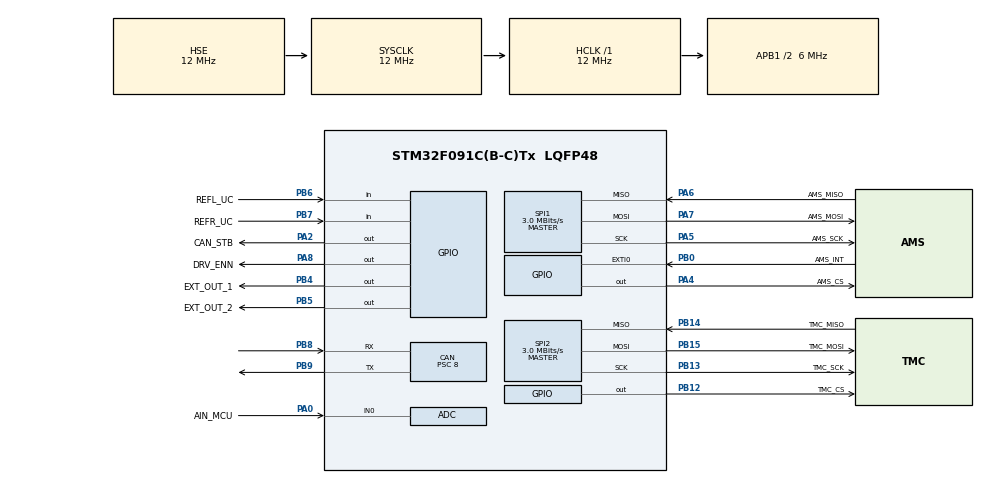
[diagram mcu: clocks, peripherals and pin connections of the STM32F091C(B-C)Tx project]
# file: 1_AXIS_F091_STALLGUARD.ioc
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CAN.BS1=CAN_BS1_2TQ
CAN.CalculateBaudRate=187500
CAN.CalculateTimeBit=5333
CAN.CalculateTimeQuantum=1333.3333333333333
CAN.Mode=CAN_MODE_NORMAL
CAN.Prescaler=8
Mcu.Family=STM32F0
Mcu.Name=STM32F091C(B-C)Tx
Mcu.Package=LQFP48
NVIC.CEC_CAN_IRQn=true\:0\:0\:false\:false\:true\:true\:true\:true
NVIC.EXTI0_1_IRQn=true\:0\:0\:false\:false\:true\:true\:true\:true
PA0.GPIO_Label=AIN_MCU
PA0.Mode=IN0
PA0.Signal=ADC_IN0
PA13.GPIO_Label=SWDIO
PA13.Mode=Serial_Wire
PA13.Signal=SYS_SWDIO
PA14.GPIO_Label=SWCLK
PA14.Mode=Serial_Wire
PA14.Signal=SYS_SWCLK
PA2.GPIO_Label=CAN_STB
PA2.Signal=GPIO_Output
PA4.GPIO_Label=AMS_CS
PA4.Signal=GPIO_Output
PA5.GPIO_Label=AMS_SCK
PA5.Mode=Full_Duplex_Master
PA5.Signal=SPI1_SCK
PA6.GPIO_Label=AMS_MISO
PA6.Mode=Full_Duplex_Master
PA6.Signal=SPI1_MISO
PA7.GPIO_Label=AMS_MOSI
PA7.Mode=Full_Duplex_Master
PA7.Signal=SPI1_MOSI
PA8.GPIO_Label=DRV_ENN
PA8.Signal=GPIO_Output
PB0.GPIO_Label=AMS_INT
PB0.GPIO_ModeDefaultEXTI=GPIO_MODE_IT_RISING
PB0.Signal=GPXTI0
PB12.GPIO_Label=TMC_CS
PB12.PinState=GPIO_PIN_SET
PB12.Signal=GPIO_Output
PB13.GPIO_Label=TMC_SCK
PB13.Mode=Full_Duplex_Master
PB13.Signal=SPI2_SCK
PB14.GPIO_Label=TMC_MISO
PB14.Mode=Full_Duplex_Master
PB14.Signal=SPI2_MISO
PB15.GPIO_Label=TMC_MOSI
PB15.Mode=Full_Duplex_Master
PB15.Signal=SPI2_MOSI
PB4.GPIO_Label=EXT_OUT_1
PB4.GPIO_PuPd=GPIO_PULLDOWN
PB4.Signal=GPIO_Output
PB5.GPIO_Label=EXT_OUT_2
PB5.GPIO_PuPd=GPIO_PULLDOWN
PB5.Signal=GPIO_Output
PB6.GPIO_Label=REFL_UC
PB6.GPIO_PuPd=GPIO_PULLDOWN
PB6.Signal=GPIO_Input
PB7.GPIO_Label=REFR_UC
PB7.GPIO_PuPd=GPIO_PULLDOWN
PB7.Signal=GPIO_Input
PB8.Mode=CAN_Activate
PB8.Signal=CAN_RX
PB9.Mode=CAN_Activate
PB9.Signal=CAN_TX
PF0-OSC_IN.Mode=HSE-External-Oscillator
PF0-OSC_IN.Signal=RCC_OSC_IN
PF1-OSC_OUT.Mode=HSE-External-Oscillator
PF1-OSC_OUT.Signal=RCC_OSC_OUT
ProjectManager.HeapSize=0x200
ProjectManager.StackSize=0x400
ProjectManager.TargetToolchain=STM32CubeIDE
RCC.AHBFreq_Value=12000000
RCC.APB1CLKDivider=RCC_HCLK_DIV2
RCC.APB1Freq_Value=6000000
RCC.APB1TimFreq_Value=12000000
RCC.HCLKFreq_Value=12000000
RCC.HSE_VALUE=12000000
RCC.PLLSourceVirtual=RCC_PLLSOURCE_HSE
RCC.SYSCLKFreq_VALUE=12000000
RCC.SYSCLKSource=RCC_SYSCLKSOURCE_HSE
SPI1.BaudRatePrescaler=SPI_BAUDRATEPRESCALER_2
SPI1.CLKPhase=SPI_PHASE_2EDGE
SPI1.CalculateBaudRate=3.0 MBits/s
SPI1.DataSize=SPI_DATASIZE_8BIT
SPI1.Direction=SPI_DIRECTION_2LINES
SPI1.Mode=SPI_MODE_MASTER
SPI1.VirtualType=VM_MASTER
SPI2.CalculateBaudRate=3.0 MBits/s
SPI2.DataSize=SPI_DATASIZE_8BIT
SPI2.Direction=SPI_DIRECTION_2LINES
SPI2.Mode=SPI_MODE_MASTER
SPI2.VirtualType=VM_MASTER
board=custom

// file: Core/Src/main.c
/* USER CODE BEGIN Header */
/**
  ******************************************************************************
  * @file           : main.c
  * @brief          : Main program body
  ******************************************************************************
  * @attention
  *
  * Copyright (c) 2022 STMicroelectronics.
  * All rights reserved.
  *
  * This software is licensed under terms that can be found in the LICENSE file
  * in the root directory of this software component.
  * If no LICENSE file comes with this software, it is provided AS-IS.
  *
  ******************************************************************************
  */
/* USER CODE END Header */
#include "main.h"

ADC_HandleTypeDef hadc;

CAN_HandleTypeDef hcan;

SPI_HandleTypeDef hspi1;
SPI_HandleTypeDef hspi2;

void SystemClock_Config(void);
static void MX_GPIO_Init(void);
static void MX_ADC_Init(void);
static void MX_CAN_Init(void);
static void MX_SPI1_Init(void);
static void MX_SPI2_Init(void);

/* USER CODE BEGIN 0 */

/* CAN VARIABLES */
CAN_TxHeaderTypeDef CANTxHeader;
CAN_RxHeaderTypeDef CANRxHeader;

/* RAMP config */
RampConfig Ramp1;
RampConfig StallSettings1;
RampConfig StealthSettings1;

/* Current config */
CurrentConfig CurrentSetting1;

/* User Settings */
int AMS_ENB = 0; // 0 = disable Hall sensor , 1 = enable Hall sensor
int ENC_ENB = 0; // 0 = disable Encoder , 1 = enable Encoder
int ENC_HOME = 0; // 0 = don't reset ENC counter at Z-event, 1 = reset at Z-event (for homing)
int STG_ENB = 1; // 0 = disable Stallguard, 1 = enable Stallguard
int32_t AMS_Resolution =  4096; // Hall sensor resolution
int32_t ENC_Resolution =  8000; // Encoder resolution

/* CAN VARIABLES */  //
CAN_TxHeaderTypeDef CANTxHeader;
CAN_RxHeaderTypeDef CANRxHeader;

uint8_t CANTxData[8];	//CANTX data array
uint8_t CANRxData[8];	//CANRX data array
uint32_t TxMailbox[3];	//CAN Mailbox
int Datacheck;			//temp value for checking incomming CAN Data

uint32_t currentposition = 0;
uint32_t Home = 0;

/*  CAN RECEIVE INTERRUPT */
void HAL_CAN_RxFifo0MsgPendingCallback(CAN_HandleTypeDef *hcan)
{
	HAL_CAN_GetRxMessage(hcan, CAN_RX_FIFO0, &CANRxHeader, CANRxData);

	if (CANRxData[0] == 0x01)
	{
		Datacheck = 1;
	}
}

/* AMS INTERRUPT */
void HAL_GPIO_EXTI_Callback(uint16_t GPIO_Pin)
{
	if(GPIO_Pin == AMS_INT_Pin && AMS_Ready == 0)
	{
		AMS_Ready = 1;
	}
}
/* USER CODE END 0 */

int main(void)
{

  /* MCU Configuration--------------------------------------------------------*/

  /* Reset of all peripherals, Initializes the Flash interface and the Systick. */
  HAL_Init();

  /* Configure the system clock */
  SystemClock_Config();

  /* Initialize all configured peripherals */
  MX_GPIO_Init();
  MX_ADC_Init();
  MX_CAN_Init();
  MX_SPI1_Init();
  MX_SPI2_Init();
  /* USER CODE BEGIN 2 */

  HAL_Delay(25); //wait for caps to charge

  StallSettings1.VSTART = 10;
  StallSettings1.AMAX 	= 51200;
  StallSettings1.VMAX 	= 51200; // 2 RPS 102400
  StallSettings1.VSTOP 	= 10;

  Ramp1.VSTART 	= 10;		//Motor Start speed
  Ramp1.A1 		= 1000;		//Motor Accelaration from Vstart to speed V1
  Ramp1.V1 		= 10000;	//Motor Speed limit V1
  Ramp1.AMAX 	= 51200;	//Motor Accelaration from speed V1 to speed Vmax
  Ramp1.VMAX 	= 51200;	//Motor Max speed limit
  Ramp1.DMAX 	= 700;		//Motor Decelaration speed from speed VMAX to V1
  Ramp1.D1 		= 1400; 	//Motor Decelaration speed from V1 to VStop
  Ramp1.VSTOP 	= 10;		//Motor Stop speed

  CurrentSetting1.IHOLD = 3;
  CurrentSetting1.IRUN 	= 1;

  TMC5160_Basic_Init(&CurrentSetting1);
  TMC5160_Drive_Enable(1);

  int stall = 0;

  ///////////////////SENSORLESS HOMING WITH STALLGUARD///////////////////////////////////
  //rotate untill stall and set stalled position as HOME
  TMC5160_Basic_Rotate(1, &StallSettings1);
  TMC5160_Init_Stallguard(0,1);//enable stallguard

  while (stall == 0) //wait for stepper to stall
  {
  	if(TMC5160_Monitor_Stallguard() == 1) //stall checker function
  	{
  		TMC5160_Drive_Enable(0);
  		TMC5160_Init_Stallguard(1,0); // clear stall flag
  		stall = 1;
  	}
  }

  TMC5160_Set_Home(); //set current position as home "0"
////////////////////////////////////////////////////////////////////////////////////

  // start moving from Home position.
  TMC5160_Basic_Rotate(1, &StallSettings1); //start basic movement
  TMC5160_Init_Stallguard(0,1); //enable stallguard

  /* USER CODE END 2 */

  /* Infinite loop */
  while (1)
  {

    /* USER CODE BEGIN 3 */
		if (TMC5160_Monitor_Stallguard() == 1)
		{
			// stall event
			TMC5160_Drive_Enable(0);
			TMC5160_Init_Stallguard(1, 0); // clear stall flag
			HAL_Delay(1000); //start rotation after 1 sec
			TMC5160_Drive_Enable(1);
			TMC5160_Basic_Rotate(1, &StallSettings1); // continue movement after stall (if needed)
		}
  }
  /* USER CODE END 3 */
}

void SystemClock_Config(void)
{
  RCC_OscInitTypeDef RCC_OscInitStruct = {0};
  RCC_ClkInitTypeDef RCC_ClkInitStruct = {0};

  /** Initializes the RCC Oscillators according to the specified parameters
  * in the RCC_OscInitTypeDef structure.
  */
  RCC_OscInitStruct.OscillatorType = RCC_OSCILLATORTYPE_HSI14|RCC_OSCILLATORTYPE_HSE;
  RCC_OscInitStruct.HSEState = RCC_HSE_ON;
  RCC_OscInitStruct.HSI14State = RCC_HSI14_ON;
  RCC_OscInitStruct.HSI14CalibrationValue = 16;
  RCC_OscInitStruct.PLL.PLLState = RCC_PLL_NONE;
  if (HAL_RCC_OscConfig(&RCC_OscInitStruct) != HAL_OK)
  {
    Error_Handler();
  }

  /** Initializes the CPU, AHB and APB buses clocks
  */
  RCC_ClkInitStruct.ClockType = RCC_CLOCKTYPE_HCLK|RCC_CLOCKTYPE_SYSCLK
                              |RCC_CLOCKTYPE_PCLK1;
  RCC_ClkInitStruct.SYSCLKSource = RCC_SYSCLKSOURCE_HSE;
  RCC_ClkInitStruct.AHBCLKDivider = RCC_SYSCLK_DIV1;
  RCC_ClkInitStruct.APB1CLKDivider = RCC_HCLK_DIV2;

  if (HAL_RCC_ClockConfig(&RCC_ClkInitStruct, FLASH_LATENCY_0) != HAL_OK)
  {
    Error_Handler();
  }
}

static void MX_ADC_Init(void)
{

  ADC_ChannelConfTypeDef sConfig = {0};

  /** Configure the global features of the ADC (Clock, Resolution, Data Alignment and number of conversion)
  */
  hadc.Instance = ADC1;
  hadc.Init.ClockPrescaler = ADC_CLOCK_ASYNC_DIV1;
  hadc.Init.Resolution = ADC_RESOLUTION_12B;
  hadc.Init.DataAlign = ADC_DATAALIGN_RIGHT;
  hadc.Init.ScanConvMode = ADC_SCAN_DIRECTION_FORWARD;
  hadc.Init.EOCSelection = ADC_EOC_SINGLE_CONV;
  hadc.Init.LowPowerAutoWait = DISABLE;
  hadc.Init.LowPowerAutoPowerOff = DISABLE;
  hadc.Init.ContinuousConvMode = DISABLE;
  hadc.Init.DiscontinuousConvMode = DISABLE;
  hadc.Init.ExternalTrigConv = ADC_SOFTWARE_START;
  hadc.Init.ExternalTrigConvEdge = ADC_EXTERNALTRIGCONVEDGE_NONE;
  hadc.Init.DMAContinuousRequests = DISABLE;
  hadc.Init.Overrun = ADC_OVR_DATA_PRESERVED;
  if (HAL_ADC_Init(&hadc) != HAL_OK)
  {
    Error_Handler();
  }

  /** Configure for the selected ADC regular channel to be converted.
  */
  sConfig.Channel = ADC_CHANNEL_0;
  sConfig.Rank = ADC_RANK_CHANNEL_NUMBER;
  sConfig.SamplingTime = ADC_SAMPLETIME_1CYCLE_5;
  if (HAL_ADC_ConfigChannel(&hadc, &sConfig) != HAL_OK)
  {
    Error_Handler();
  }

}

static void MX_CAN_Init(void)
{

  /* USER CODE BEGIN CAN_Init 0 */
  HAL_GPIO_WritePin(GPIOA,CAN_STB_Pin,0); // Set STB pin LOW for normal operation
  /* USER CODE END CAN_Init 0 */

  hcan.Instance = CAN;
  hcan.Init.Prescaler = 8;
  hcan.Init.Mode = CAN_MODE_NORMAL;
  hcan.Init.SyncJumpWidth = CAN_SJW_1TQ;
  hcan.Init.TimeSeg1 = CAN_BS1_2TQ;
  hcan.Init.TimeSeg2 = CAN_BS2_1TQ;
  hcan.Init.TimeTriggeredMode = DISABLE;
  hcan.Init.AutoBusOff = DISABLE;
  hcan.Init.AutoWakeUp = DISABLE;
  hcan.Init.AutoRetransmission = DISABLE;
  hcan.Init.ReceiveFifoLocked = DISABLE;
  hcan.Init.TransmitFifoPriority = DISABLE;
  if (HAL_CAN_Init(&hcan) != HAL_OK)
  {
    Error_Handler();
  }
  /* USER CODE BEGIN CAN_Init 2 */

  /* CAN filter */

  CAN_FilterTypeDef  sFilterConfig;

  sFilterConfig.FilterActivation = ENABLE;
  sFilterConfig.FilterBank = 10;
  sFilterConfig.FilterFIFOAssignment = CAN_RX_FIFO0;
  sFilterConfig.FilterIdHigh = 0x0000;
  sFilterConfig.FilterIdLow = 0x0000;
  sFilterConfig.FilterMaskIdHigh = 0x0000;
  sFilterConfig.FilterMaskIdLow = 0x0000;
  sFilterConfig.FilterMode = CAN_FILTERMODE_IDMASK;
  sFilterConfig.FilterScale = CAN_FILTERSCALE_32BIT;
  sFilterConfig.SlaveStartFilterBank = 0;

  HAL_CAN_ConfigFilter(&hcan, &sFilterConfig);

  HAL_CAN_Start(&hcan);
  HAL_CAN_ActivateNotification(&hcan, CAN_IT_RX_FIFO0_MSG_PENDING);

  /* USER CODE END CAN_Init 2 */

}

static void MX_SPI1_Init(void)
{

  /* SPI1 parameter configuration*/
  hspi1.Instance = SPI1;
  hspi1.Init.Mode = SPI_MODE_MASTER;
  hspi1.Init.Direction = SPI_DIRECTION_2LINES;
  hspi1.Init.DataSize = SPI_DATASIZE_8BIT;
  hspi1.Init.CLKPolarity = SPI_POLARITY_LOW;
  hspi1.Init.CLKPhase = SPI_PHASE_2EDGE;
  hspi1.Init.NSS = SPI_NSS_SOFT;
  hspi1.Init.BaudRatePrescaler = SPI_BAUDRATEPRESCALER_2;
  hspi1.Init.FirstBit = SPI_FIRSTBIT_MSB;
  hspi1.Init.TIMode = SPI_TIMODE_DISABLE;
  hspi1.Init.CRCCalculation = SPI_CRCCALCULATION_DISABLE;
  hspi1.Init.CRCPolynomial = 7;
  hspi1.Init.CRCLength = SPI_CRC_LENGTH_DATASIZE;
  hspi1.Init.NSSPMode = SPI_NSS_PULSE_DISABLE;
  if (HAL_SPI_Init(&hspi1) != HAL_OK)
  {
    Error_Handler();
  }

}

static void MX_SPI2_Init(void)
{

  /* SPI2 parameter configuration*/
  hspi2.Instance = SPI2;
  hspi2.Init.Mode = SPI_MODE_MASTER;
  hspi2.Init.Direction = SPI_DIRECTION_2LINES;
  hspi2.Init.DataSize = SPI_DATASIZE_8BIT;
  hspi2.Init.CLKPolarity = SPI_POLARITY_LOW;
  hspi2.Init.CLKPhase = SPI_PHASE_1EDGE;
  hspi2.Init.NSS = SPI_NSS_SOFT;
  hspi2.Init.BaudRatePrescaler = SPI_BAUDRATEPRESCALER_2;
  hspi2.Init.FirstBit = SPI_FIRSTBIT_MSB;
  hspi2.Init.TIMode = SPI_TIMODE_DISABLE;
  hspi2.Init.CRCCalculation = SPI_CRCCALCULATION_DISABLE;
  hspi2.Init.CRCPolynomial = 7;
  hspi2.Init.CRCLength = SPI_CRC_LENGTH_DATASIZE;
  hspi2.Init.NSSPMode = SPI_NSS_PULSE_ENABLE;
  if (HAL_SPI_Init(&hspi2) != HAL_OK)
  {
    Error_Handler();
  }

}

static void MX_GPIO_Init(void)
{
  GPIO_InitTypeDef GPIO_InitStruct = {0};

  /* GPIO Ports Clock Enable */
  __HAL_RCC_GPIOF_CLK_ENABLE();
  __HAL_RCC_GPIOA_CLK_ENABLE();
  __HAL_RCC_GPIOB_CLK_ENABLE();

  /*Configure GPIO pin Output Level */
  HAL_GPIO_WritePin(GPIOA, CAN_STB_Pin|AMS_CS_Pin|DRV_ENN_Pin, GPIO_PIN_RESET);

  /*Configure GPIO pin Output Level */
  HAL_GPIO_WritePin(TMC_CS_GPIO_Port, TMC_CS_Pin, GPIO_PIN_SET);

  /*Configure GPIO pin Output Level */
  HAL_GPIO_WritePin(GPIOB, EXT_OUT_1_Pin|EXT_OUT_2_Pin, GPIO_PIN_RESET);

  /*Configure GPIO pins : CAN_STB_Pin AMS_CS_Pin DRV_ENN_Pin */
  GPIO_InitStruct.Pin = CAN_STB_Pin|AMS_CS_Pin|DRV_ENN_Pin;
  GPIO_InitStruct.Mode = GPIO_MODE_OUTPUT_PP;
  GPIO_InitStruct.Pull = GPIO_NOPULL;
  GPIO_InitStruct.Speed = GPIO_SPEED_FREQ_LOW;
  HAL_GPIO_Init(GPIOA, &GPIO_InitStruct);

  /*Configure GPIO pin : AMS_INT_Pin */
  GPIO_InitStruct.Pin = AMS_INT_Pin;
  GPIO_InitStruct.Mode = GPIO_MODE_IT_RISING;
  GPIO_InitStruct.Pull = GPIO_NOPULL;
  HAL_GPIO_Init(AMS_INT_GPIO_Port, &GPIO_InitStruct);

  /*Configure GPIO pin : TMC_CS_Pin */
  GPIO_InitStruct.Pin = TMC_CS_Pin;
  GPIO_InitStruct.Mode = GPIO_MODE_OUTPUT_PP;
  GPIO_InitStruct.Pull = GPIO_NOPULL;
  GPIO_InitStruct.Speed = GPIO_SPEED_FREQ_LOW;
  HAL_GPIO_Init(TMC_CS_GPIO_Port, &GPIO_InitStruct);

  /*Configure GPIO pins : EXT_OUT_1_Pin EXT_OUT_2_Pin */
  GPIO_InitStruct.Pin = EXT_OUT_1_Pin|EXT_OUT_2_Pin;
  GPIO_InitStruct.Mode = GPIO_MODE_OUTPUT_PP;
  GPIO_InitStruct.Pull = GPIO_PULLDOWN;
  GPIO_InitStruct.Speed = GPIO_SPEED_FREQ_LOW;
  HAL_GPIO_Init(GPIOB, &GPIO_InitStruct);

  /*Configure GPIO pins : REFL_UC_Pin REFR_UC_Pin */
  GPIO_InitStruct.Pin = REFL_UC_Pin|REFR_UC_Pin;
  GPIO_InitStruct.Mode = GPIO_MODE_INPUT;
  GPIO_InitStruct.Pull = GPIO_PULLDOWN;
  HAL_GPIO_Init(GPIOB, &GPIO_InitStruct);

  /* EXTI interrupt init*/
  HAL_NVIC_SetPriority(EXTI0_1_IRQn, 0, 0);
  HAL_NVIC_EnableIRQ(EXTI0_1_IRQn);

}

void Error_Handler(void)
{
  __disable_irq();
  while (1)
  {
  }
}
